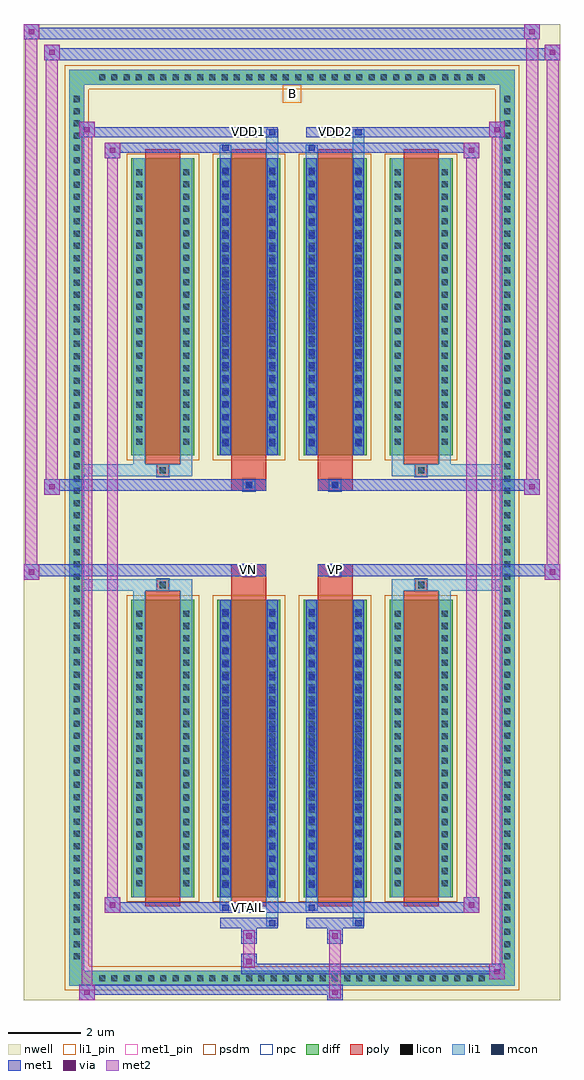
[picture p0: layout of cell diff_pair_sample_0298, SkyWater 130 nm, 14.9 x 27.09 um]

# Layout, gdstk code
import gdstk
lib = gdstk.Library(unit=1e-6, precision=5e-09)
def R(c, l, rs):  # rectangles x0, y0, x1, y1
    for r in rs: c.add(gdstk.rectangle(r[:2], r[2:], *l))
def A(c, l, x, y, w, h, nx, ny, dx, dy):  # array of equal rectangles
    R(c, l, [(x+i*dx, y+j*dy, x+i*dx+w, y+j*dy+h) for i in range(nx) for j in range(ny)])
def P(c, l, *ps):  # polygons
    for p in ps: c.add(gdstk.Polygon(p, *l))
nwell = (64, 20)
diff = (65, 20)
poly = (66, 20)
licon = (66, 44)
li1_pin = (67, 16)
li1 = (67, 20)
mcon = (67, 44)
met1_pin = (68, 16)
met1 = (68, 20)
via = (68, 44)
met2 = (69, 20)
psdm = (94, 20)
npc = (95, 20)

diff_pair_sample_0298 = lib.new_cell('diff_pair_sample_0298')
R(diff_pair_sample_0298, nwell, [(-7.45,-13.11,7.45,13.98), (-4.77,-11.3,-0.01,-0.82), (0.01,-11.3,4.77,-0.82), (-4.77,0.82,-0.01,11.3), (0.01,0.82,4.77,11.3)])
A(diff_pair_sample_0298, diff, -5.475, -12.71, 0.41, 0.41, 32, 2, 0.34, 25.01)
A(diff_pair_sample_0298, diff, -6.18, -12.105, 0.41, 0.41, 1, 71, 0, 0.34)
A(diff_pair_sample_0298, diff, 5.77, -12.105, 0.41, 0.41, 1, 71, 0, 0.34)
A(diff_pair_sample_0298, diff, -4.46, -10.255, 1.75, 8.25, 4, 2, 2.39, 12.26)
R(diff_pair_sample_0298, diff, [(-5.475,-12.71,5.475,-12.3), (-6.18,-12.105,-5.77,12.105), (5.77,-12.105,6.18,12.105), (-5.475,12.3,5.475,12.71)])
P(diff_pair_sample_0298, diff, [(6.18,12.71),(-6.18,12.71),(-6.18,-12.3),(-5.77,-12.3),(-5.77,12.3),(5.77,12.3),(5.77,-12.3),(-5.77,-12.3),(-6.18,-12.3),(-6.18,-12.71),(6.18,-12.71)])
A(diff_pair_sample_0298, poly, -4.07, -10.505, 0.97, 8.75, 4, 2, 2.39, 12.26)
R(diff_pair_sample_0298, poly, [(-3.75,-1.755,-3.42,-1.425), (-3.75,-1.755,-3.42,-1.425), (-1.68,-1.755,-0.71,-1.35), (0.71,-1.755,1.68,-1.35), (3.42,-1.755,3.75,-1.425), (3.42,-1.755,3.75,-1.425), (-1.68,-1.35,-0.71,-1.02), (-1.36,-1.35,-1.03,-1.02), (0.71,-1.35,1.68,-1.02), (1.03,-1.35,1.36,-1.02), (-1.68,1.02,-0.71,1.35), (-1.36,1.02,-1.03,1.35), (0.71,1.02,1.68,1.35), (1.03,1.02,1.36,1.35), (-1.68,1.35,-0.71,1.755), (0.71,1.35,1.68,1.755), (-3.75,1.425,-3.42,1.755), (-3.75,1.425,-3.42,1.755), (3.42,1.425,3.75,1.755), (3.42,1.425,3.75,1.755)])
A(diff_pair_sample_0298, licon, -5.355, -12.59, 0.17, 0.17, 32, 2, 0.34, 25.01)
A(diff_pair_sample_0298, licon, -6.06, -11.985, 0.17, 0.17, 1, 71, 0, 0.34)
A(diff_pair_sample_0298, licon, 5.89, -11.985, 0.17, 0.17, 1, 71, 0, 0.34)
A(diff_pair_sample_0298, licon, -4.32, -9.955, 0.17, 0.17, 1, 23, 0, 0.34)
A(diff_pair_sample_0298, licon, -3.02, -9.955, 0.17, 0.17, 1, 23, 0, 0.34)
A(diff_pair_sample_0298, licon, -1.93, -9.955, 0.17, 0.17, 1, 23, 0, 0.34)
A(diff_pair_sample_0298, licon, -0.63, -9.955, 0.17, 0.17, 1, 23, 0, 0.34)
A(diff_pair_sample_0298, licon, 0.46, -9.955, 0.17, 0.17, 1, 23, 0, 0.34)
A(diff_pair_sample_0298, licon, 1.76, -9.955, 0.17, 0.17, 1, 23, 0, 0.34)
A(diff_pair_sample_0298, licon, 2.85, -9.955, 0.17, 0.17, 1, 23, 0, 0.34)
A(diff_pair_sample_0298, licon, 4.15, -9.955, 0.17, 0.17, 1, 23, 0, 0.34)
A(diff_pair_sample_0298, licon, -4.32, 2.305, 0.17, 0.17, 1, 23, 0, 0.34)
A(diff_pair_sample_0298, licon, -3.02, 2.305, 0.17, 0.17, 1, 23, 0, 0.34)
A(diff_pair_sample_0298, licon, -1.93, 2.305, 0.17, 0.17, 1, 23, 0, 0.34)
A(diff_pair_sample_0298, licon, -0.63, 2.305, 0.17, 0.17, 1, 23, 0, 0.34)
A(diff_pair_sample_0298, licon, 0.46, 2.305, 0.17, 0.17, 1, 23, 0, 0.34)
A(diff_pair_sample_0298, licon, 1.76, 2.305, 0.17, 0.17, 1, 23, 0, 0.34)
A(diff_pair_sample_0298, licon, 2.85, 2.305, 0.17, 0.17, 1, 23, 0, 0.34)
A(diff_pair_sample_0298, licon, 4.15, 2.305, 0.17, 0.17, 1, 23, 0, 0.34)
R(diff_pair_sample_0298, licon, [(-3.67,-1.675,-3.5,-1.505), (3.5,-1.675,3.67,-1.505), (-1.28,-1.27,-1.11,-1.1), (1.11,-1.27,1.28,-1.1), (-1.28,1.1,-1.11,1.27), (1.11,1.1,1.28,1.27), (-3.67,1.505,-3.5,1.675), (3.5,1.505,3.67,1.675)])
R(diff_pair_sample_0298, li1_pin, [(-0.25,11.8,0.25,12.3)])
A(diff_pair_sample_0298, li1, -5.435, -12.67, 0.33, 0.33, 32, 2, 0.34, 25.01)
A(diff_pair_sample_0298, li1, -6.14, -12.065, 0.33, 0.33, 1, 71, 0, 0.34)
A(diff_pair_sample_0298, li1, 5.81, -12.065, 0.33, 0.33, 1, 71, 0, 0.34)
A(diff_pair_sample_0298, li1, -4.4, -10.035, 0.33, 0.33, 1, 23, 0, 0.34)
A(diff_pair_sample_0298, li1, -3.1, -10.035, 0.33, 0.33, 1, 23, 0, 0.34)
A(diff_pair_sample_0298, li1, -2.01, -10.035, 0.33, 0.33, 1, 23, 0, 0.34)
A(diff_pair_sample_0298, li1, -0.71, -10.035, 0.33, 0.33, 1, 23, 0, 0.34)
A(diff_pair_sample_0298, li1, 0.38, -10.035, 0.33, 0.33, 1, 23, 0, 0.34)
A(diff_pair_sample_0298, li1, 1.68, -10.035, 0.33, 0.33, 1, 23, 0, 0.34)
A(diff_pair_sample_0298, li1, 2.77, -10.035, 0.33, 0.33, 1, 23, 0, 0.34)
A(diff_pair_sample_0298, li1, 4.07, -10.035, 0.33, 0.33, 1, 23, 0, 0.34)
A(diff_pair_sample_0298, li1, -1.93, -9.995, 0.17, 0.17, 1, 22, 0, 0.36)
A(diff_pair_sample_0298, li1, -0.63, -9.995, 0.17, 0.17, 1, 22, 0, 0.36)
A(diff_pair_sample_0298, li1, 0.46, -9.995, 0.17, 0.17, 1, 22, 0, 0.36)
A(diff_pair_sample_0298, li1, 1.76, -9.995, 0.17, 0.17, 1, 22, 0, 0.36)
A(diff_pair_sample_0298, li1, -4.4, 2.225, 0.33, 0.33, 1, 23, 0, 0.34)
A(diff_pair_sample_0298, li1, -3.1, 2.225, 0.33, 0.33, 1, 23, 0, 0.34)
A(diff_pair_sample_0298, li1, -2.01, 2.225, 0.33, 0.33, 1, 23, 0, 0.34)
A(diff_pair_sample_0298, li1, -0.71, 2.225, 0.33, 0.33, 1, 23, 0, 0.34)
A(diff_pair_sample_0298, li1, 0.38, 2.225, 0.33, 0.33, 1, 23, 0, 0.34)
A(diff_pair_sample_0298, li1, 1.68, 2.225, 0.33, 0.33, 1, 23, 0, 0.34)
A(diff_pair_sample_0298, li1, 2.77, 2.225, 0.33, 0.33, 1, 23, 0, 0.34)
A(diff_pair_sample_0298, li1, 4.07, 2.225, 0.33, 0.33, 1, 23, 0, 0.34)
A(diff_pair_sample_0298, li1, -1.93, 2.265, 0.17, 0.17, 1, 22, 0, 0.36)
A(diff_pair_sample_0298, li1, -0.63, 2.265, 0.17, 0.17, 1, 22, 0, 0.36)
A(diff_pair_sample_0298, li1, 0.46, 2.265, 0.17, 0.17, 1, 22, 0, 0.36)
A(diff_pair_sample_0298, li1, 1.76, 2.265, 0.17, 0.17, 1, 22, 0, 0.36)
R(diff_pair_sample_0298, li1, [(-6.18,-12.71,-5.77,-12.3), (-6.18,-12.71,-5.77,-12.3), (-5.77,-12.71,5.77,-12.3), (5.77,-12.71,6.18,-12.3), (5.77,-12.71,6.18,-12.3), (-6.18,-12.3,-5.77,12.3), (5.77,-12.3,6.18,12.3), (-0.71,-11.06,-0.38,-10.255), (-0.63,-11.06,-0.46,-10.89), (1.68,-11.06,2.01,-10.255), (1.76,-11.06,1.93,-10.89), (-2.01,-10.63,-1.68,-10.255), (-1.93,-10.63,-1.76,-10.46), (0.38,-10.63,0.71,-10.255), (0.46,-10.63,0.63,-10.46), (-4.4,-10.255,-4.07,-2.005), (-3.1,-10.255,-2.77,-2.005), (-2.01,-10.255,-1.68,-2.005), (-0.71,-10.255,-0.38,-2.005), (0.38,-10.255,0.71,-2.005), (1.68,-10.255,2.01,-2.005), (2.77,-10.255,3.1,-2.005), (4.07,-10.255,4.4,-2.005), (-1.93,-9.995,-1.76,-2.265), (-0.63,-9.995,-0.46,-2.265), (0.46,-9.995,0.63,-2.265), (1.76,-9.995,1.93,-2.265), (-4.4,-2.005,-4.07,-1.425), (-3.1,-2.005,-2.77,-1.425), (2.77,-2.005,3.1,-1.425), (4.07,-2.005,4.4,-1.425), (-6.18,-1.755,-3.75,-1.425), (-4.4,-1.755,-3.75,-1.425), (-3.75,-1.755,-3.42,-1.425), (-3.42,-1.755,-2.77,-1.425), (2.77,-1.755,3.42,-1.425), (3.42,-1.755,3.75,-1.425), (3.42,-1.755,6.18,-1.425), (3.75,-1.755,4.4,-1.425), (-1.36,-1.35,-1.03,-1.02), (1.03,-1.35,1.36,-1.02), (-1.36,1.02,-1.03,1.35), (1.03,1.02,1.36,1.35), (-6.18,1.425,-3.75,1.755), (-4.4,1.425,-3.75,1.755), (-4.4,1.425,-4.07,2.005), (-3.75,1.425,-3.42,1.755), (-3.42,1.425,-2.77,1.755), (-3.1,1.425,-2.77,2.005), (2.77,1.425,3.42,1.755), (2.77,1.425,3.1,2.005), (3.42,1.425,3.75,1.755), (3.42,1.425,6.18,1.755), (3.75,1.425,4.4,1.755), (4.07,1.425,4.4,2.005), (-4.4,2.005,-4.07,10.255), (-3.1,2.005,-2.77,10.255), (-2.01,2.005,-1.68,10.255), (-0.71,2.005,-0.38,10.255), (0.38,2.005,0.71,10.255), (1.68,2.005,2.01,10.255), (2.77,2.005,3.1,10.255), (4.07,2.005,4.4,10.255), (-1.93,2.265,-1.76,9.995), (-0.63,2.265,-0.46,9.995), (0.46,2.265,0.63,9.995), (1.76,2.265,1.93,9.995), (-2.01,10.255,-1.68,10.63), (-0.71,10.255,-0.38,11.06), (0.38,10.255,0.71,10.63), (1.68,10.255,2.01,11.06), (-1.93,10.46,-1.76,10.63), (0.46,10.46,0.63,10.63), (-0.63,10.89,-0.46,11.06), (1.76,10.89,1.93,11.06), (-6.18,12.3,-5.77,12.71), (-6.18,12.3,-5.77,12.71), (-5.77,12.3,5.77,12.71), (5.77,12.3,6.18,12.71), (5.77,12.3,6.18,12.71)])
A(diff_pair_sample_0298, mcon, -1.93, -9.995, 0.17, 0.17, 1, 22, 0, 0.36)
A(diff_pair_sample_0298, mcon, -0.63, -9.995, 0.17, 0.17, 1, 22, 0, 0.36)
A(diff_pair_sample_0298, mcon, 0.46, -9.995, 0.17, 0.17, 1, 22, 0, 0.36)
A(diff_pair_sample_0298, mcon, 1.76, -9.995, 0.17, 0.17, 1, 22, 0, 0.36)
A(diff_pair_sample_0298, mcon, -1.93, 2.265, 0.17, 0.17, 1, 22, 0, 0.36)
A(diff_pair_sample_0298, mcon, -0.63, 2.265, 0.17, 0.17, 1, 22, 0, 0.36)
A(diff_pair_sample_0298, mcon, 0.46, 2.265, 0.17, 0.17, 1, 22, 0, 0.36)
A(diff_pair_sample_0298, mcon, 1.76, 2.265, 0.17, 0.17, 1, 22, 0, 0.36)
R(diff_pair_sample_0298, mcon, [(-0.63,-11.06,-0.46,-10.89), (1.76,-11.06,1.93,-10.89), (-1.93,-10.63,-1.76,-10.46), (0.46,-10.63,0.63,-10.46), (-1.28,-1.27,-1.11,-1.1), (1.11,-1.27,1.28,-1.1), (-1.28,1.1,-1.11,1.27), (1.11,1.1,1.28,1.27), (-1.93,10.46,-1.76,10.63), (0.46,10.46,0.63,10.63), (-0.63,10.89,-0.46,11.06), (1.76,10.89,1.93,11.06)])
R(diff_pair_sample_0298, met1_pin, [(-1.33,-10.67,-1.06,-10.4), (-1.33,-1.29,-1.06,-1.02), (1.06,-1.29,1.33,-1.02), (-1.33,10.85,-1.06,11.12), (1.06,10.85,1.33,11.12)])
A(diff_pair_sample_0298, met1, -1.99, -10.055, 0.29, 0.29, 1, 22, 0, 0.36)
A(diff_pair_sample_0298, met1, -0.69, -10.055, 0.29, 0.29, 1, 22, 0, 0.36)
A(diff_pair_sample_0298, met1, 0.4, -10.055, 0.29, 0.29, 1, 22, 0, 0.36)
A(diff_pair_sample_0298, met1, 1.7, -10.055, 0.29, 0.29, 1, 22, 0, 0.36)
A(diff_pair_sample_0298, met1, -1.99, 2.205, 0.29, 0.29, 1, 22, 0, 0.36)
A(diff_pair_sample_0298, met1, -0.69, 2.205, 0.29, 0.29, 1, 22, 0, 0.36)
A(diff_pair_sample_0298, met1, 0.4, 2.205, 0.29, 0.29, 1, 22, 0, 0.36)
A(diff_pair_sample_0298, met1, 1.7, 2.205, 0.29, 0.29, 1, 22, 0, 0.36)
R(diff_pair_sample_0298, met1, [(-5.91,-13.11,-5.48,-12.68), (0.98,-13.11,1.41,-12.68), (-5.91,-12.97,1.41,-12.68), (5.48,-12.54,5.91,-12.11), (-1.41,-12.4,5.91,-12.11), (-1.41,-12.26,-0.98,-11.83), (-1.41,-11.55,-0.98,-11.12), (0.98,-11.55,1.41,-11.12), (-1.99,-11.12,-0.4,-10.83), (-0.69,-11.12,-0.4,-10.83), (0.4,-11.12,1.99,-10.83), (1.7,-11.12,1.99,-10.83), (-5.2,-10.69,-4.77,-10.26), (-5.2,-10.69,-1.99,-10.4), (-1.99,-10.69,-1.7,-10.4), (-1.99,-10.69,-0.4,-10.4), (-0.4,-10.69,0.4,-10.4), (0.4,-10.69,0.69,-10.4), (0.4,-10.69,1.99,-10.4), (1.99,-10.69,5.2,-10.4), (4.77,-10.69,5.2,-10.26), (-1.99,-10.255,-1.7,-2.005), (-0.69,-10.255,-0.4,-2.005), (0.4,-10.255,0.69,-2.005), (1.7,-10.255,1.99,-2.005), (-7.45,-1.45,-7.02,-1.02), (7.02,-1.45,7.45,-1.02), (-7.45,-1.35,-0.71,-1.02), (-1.68,-1.35,-0.71,-1.02), (0.71,-1.35,1.68,-1.02), (0.71,-1.35,7.45,-1.02), (-1.34,-1.33,-1.05,-1.04), (1.05,-1.33,1.34,-1.04), (-6.88,0.92,-6.45,1.35), (6.45,0.92,6.88,1.35), (-6.88,1.02,-1.68,1.35), (-1.68,1.02,-0.71,1.35), (0.71,1.02,1.68,1.35), (1.68,1.02,6.88,1.35), (-1.34,1.04,-1.05,1.33), (1.05,1.04,1.34,1.33), (-1.99,2.005,-1.7,10.255), (-0.69,2.005,-0.4,10.255), (0.4,2.005,0.69,10.255), (1.7,2.005,1.99,10.255), (-5.2,10.26,-4.77,10.69), (4.77,10.26,5.2,10.69), (-5.2,10.4,-1.99,10.69), (-1.99,10.4,-1.7,10.69), (-1.99,10.4,-0.4,10.69), (-0.4,10.4,0.4,10.69), (0.4,10.4,0.69,10.69), (0.4,10.4,1.99,10.69), (1.99,10.4,5.2,10.69), (-5.91,10.83,-5.48,11.26), (-5.91,10.83,-1.99,11.12), (-1.99,10.83,-0.4,11.12), (-0.69,10.83,-0.4,11.12), (0.4,10.83,1.99,11.12), (1.7,10.83,1.99,11.12), (1.99,10.83,5.91,11.12), (5.48,10.83,5.91,11.26), (-6.88,12.98,-6.45,13.41), (-6.88,12.98,-4.77,13.31), (-4.77,12.98,4.77,13.31), (4.77,12.98,7.45,13.31), (7.02,12.98,7.45,13.41), (-7.45,13.55,-7.02,13.98), (-7.45,13.55,-4.77,13.88), (-4.77,13.55,4.77,13.88), (4.77,13.55,6.88,13.88), (6.45,13.55,6.88,13.98)])
R(diff_pair_sample_0298, via, [(-5.77,-12.97,-5.62,-12.82), (1.12,-12.97,1.27,-12.82), (5.62,-12.4,5.77,-12.25), (-1.27,-12.12,-1.12,-11.97), (-1.27,-11.41,-1.12,-11.26), (1.12,-11.41,1.27,-11.26), (-5.06,-10.55,-4.91,-10.4), (4.91,-10.55,5.06,-10.4), (-7.31,-1.31,-7.16,-1.16), (7.16,-1.31,7.31,-1.16), (-6.74,1.06,-6.59,1.21), (6.59,1.06,6.74,1.21), (-5.06,10.4,-4.91,10.55), (4.91,10.4,5.06,10.55), (-5.77,10.97,-5.62,11.12), (5.62,10.97,5.77,11.12), (-6.74,13.12,-6.59,13.27), (7.16,13.12,7.31,13.27), (-7.31,13.69,-7.16,13.84), (6.59,13.69,6.74,13.84)])
R(diff_pair_sample_0298, met2, [(-5.91,-13.11,-5.48,-12.68), (-5.84,-13.11,-5.55,11.26), (-5.55,-13.11,-5.48,-12.68), (-5.86,-13.06,-5.53,-12.73), (1.03,-13.06,1.36,-12.73), (1.03,-12.73,1.36,-11.5), (5.48,-12.54,5.91,-12.11), (5.55,-12.54,5.84,11.26), (5.84,-12.54,5.91,-12.11), (5.53,-12.49,5.86,-12.16), (-1.36,-12.21,-1.03,-11.88), (-1.36,-11.88,-1.03,-11.5), (-1.36,-11.5,-1.03,-11.17), (1.03,-11.5,1.36,-11.17), (-5.2,-10.69,-4.77,-10.26), (-5.13,-10.69,-4.84,10.69), (-4.84,-10.69,-4.77,-10.26), (4.77,-10.69,5.2,-10.26), (4.84,-10.69,5.13,10.69), (5.13,-10.69,5.2,-10.26), (-5.15,-10.64,-4.82,-10.31), (4.82,-10.64,5.15,-10.31), (-7.45,-1.45,-7.02,-1.02), (-7.4,-1.45,-7.07,13.98), (-7.07,-1.45,-7.02,-1.02), (7.02,-1.45,7.45,-1.02), (7.07,-1.45,7.4,13.41), (7.4,-1.45,7.45,-1.02), (-7.4,-1.4,-7.07,-1.07), (7.07,-1.4,7.4,-1.07), (-6.88,0.92,-6.45,1.35), (-6.83,0.92,-6.5,13.41), (-6.5,0.92,-6.45,1.35), (6.45,0.92,6.88,1.35), (6.5,0.92,6.83,13.98), (6.83,0.92,6.88,1.35), (-6.83,0.97,-6.5,1.3), (6.5,0.97,6.83,1.3), (-5.2,10.26,-4.77,10.69), (-4.84,10.26,-4.77,10.69), (4.77,10.26,5.2,10.69), (5.13,10.26,5.2,10.69), (-5.15,10.31,-4.82,10.64), (4.82,10.31,5.15,10.64), (-5.91,10.83,-5.48,11.26), (-5.55,10.83,-5.48,11.26), (5.48,10.83,5.91,11.26), (5.84,10.83,5.91,11.26), (-5.86,10.88,-5.53,11.21), (5.53,10.88,5.86,11.21), (-6.88,12.98,-6.45,13.41), (-6.5,12.98,-6.45,13.41), (7.02,12.98,7.45,13.41), (7.4,12.98,7.45,13.41), (-6.83,13.03,-6.5,13.36), (7.07,13.03,7.4,13.36), (-7.45,13.55,-7.02,13.98), (-7.07,13.55,-7.02,13.98), (6.45,13.55,6.88,13.98), (6.83,13.55,6.88,13.98), (-7.4,13.6,-7.07,13.93), (6.5,13.6,6.83,13.93)])
A(diff_pair_sample_0298, psdm, -4.59, -10.385, 2.01, 8.51, 4, 2, 2.39, 12.26)
P(diff_pair_sample_0298, psdm, [(6.31,12.84),(-6.31,12.84),(-6.31,-12.17),(-5.64,-12.17),(-5.64,12.17),(5.64,12.17),(5.64,-12.17),(-5.64,-12.17),(-6.31,-12.17),(-6.31,-12.84),(6.31,-12.84)])
R(diff_pair_sample_0298, npc, [(-3.77,-1.775,-3.4,-1.405), (3.4,-1.775,3.77,-1.405), (-1.38,-1.37,-1.01,-1), (1.01,-1.37,1.38,-1), (-1.38,1,-1.01,1.37), (1.01,1,1.38,1.37), (-3.77,1.405,-3.4,1.775), (3.4,1.405,3.77,1.775)])
diff_pair_sample_0298.add(gdstk.Label('VTAIL', (-1.195,-10.535), layer=68, texttype=5))
diff_pair_sample_0298.add(gdstk.Label('VN', (-1.195,-1.155), layer=68, texttype=5))
diff_pair_sample_0298.add(gdstk.Label('VP', (1.195,-1.155), layer=68, texttype=5))
diff_pair_sample_0298.add(gdstk.Label('B', (0,12.05), layer=67, texttype=5))
diff_pair_sample_0298.add(gdstk.Label('VDD2', (1.195,10.985), layer=68, texttype=5))
diff_pair_sample_0298.add(gdstk.Label('VDD1', (-1.195,10.985), layer=68, texttype=5))

lib.write_gds('diff_pair_sample_0298.gds')
